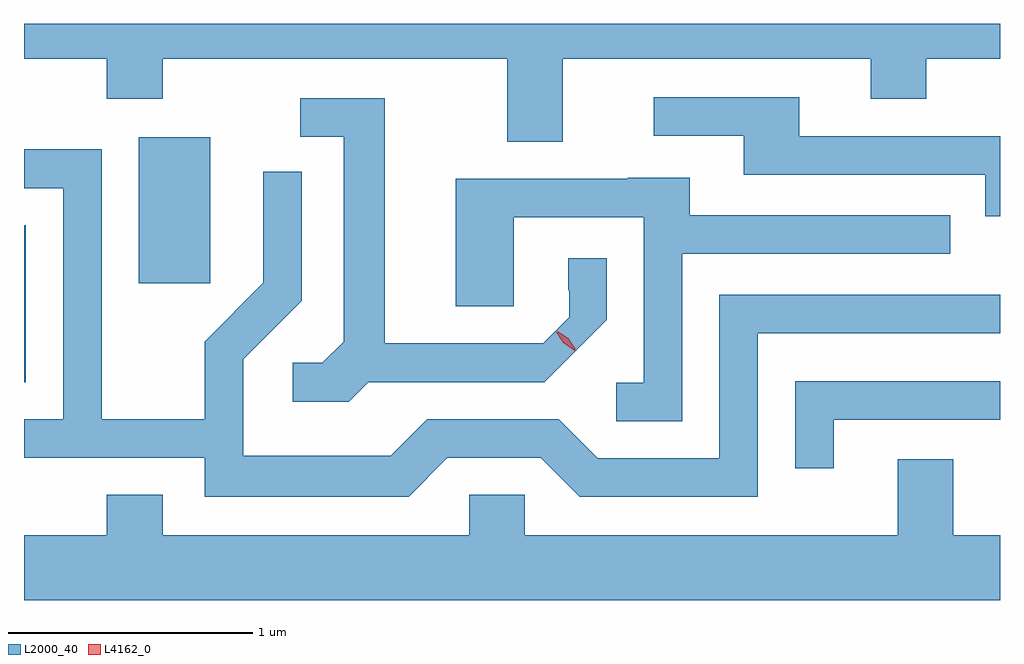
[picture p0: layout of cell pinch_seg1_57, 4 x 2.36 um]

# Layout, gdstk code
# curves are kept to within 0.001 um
import gdstk
lib = gdstk.Library(unit=1e-6, precision=1e-09)
def R(c, l, rs):  # rectangles x0, y0, x1, y1
    for r in rs: c.add(gdstk.rectangle(r[:2], r[2:], *l))
def P(c, l, *ps):  # polygons
    for p in ps: c.add(gdstk.Polygon(p, *l))
L2000_40 = (2000, 40)
L4162_0 = (4162, 0)

pinch_seg1_57 = lib.new_cell('pinch_seg1_57')
R(pinch_seg1_57, L2000_40, [(1025.801,849.411,1025.809,850.054), (1026.271,849.816,1026.564,850.414)])
P(pinch_seg1_57, L2000_40, [(1028.009,850.736),(1029.271,850.736),(1029.271,850.571),(1029.499,850.571),(1029.499,850.736),(1029.801,850.736),(1029.801,850.88),(1025.801,850.88),(1025.801,850.736),(1026.141,850.736),(1026.141,850.571),(1026.369,850.571),(1026.369,850.736),(1027.781,850.736),(1027.781,850.396),(1028.009,850.396)],
  [(1029.801,850.419),(1028.979,850.419),(1028.979,850.579),(1028.382,850.579),(1028.382,850.421),(1028.751,850.421),(1028.751,850.261),(1029.741,850.261),(1029.741,850.091),(1029.801,850.091)],
  [(1027.212,849.411),(1027.934,849.411),(1028.189,849.667),(1028.189,849.918),(1028.031,849.918),(1028.031,849.788),(1028.035,849.788),(1028.035,849.676),(1027.93,849.57),(1027.279,849.569),(1027.279,850.574),(1026.933,850.574),(1026.933,850.416),(1027.111,850.416),(1027.111,849.577),(1027.024,849.489),(1026.902,849.489),(1026.902,849.331),(1027.132,849.331)],
  [(1027.536,849.101),(1027.919,849.101),(1028.079,848.941),(1028.809,848.941),(1028.809,849.611),(1029.801,849.611),(1029.801,849.769),(1028.651,849.769),(1028.651,849.099),(1028.152,849.099),(1027.992,849.259),(1027.454,849.259),(1027.304,849.109),(1026.699,849.109),(1026.699,849.504),(1026.939,849.744),(1026.939,850.273),(1026.781,850.273),(1026.781,849.817),(1026.541,849.577),(1026.541,849.259),(1026.119,849.259),(1026.119,850.364),(1025.801,850.364),(1025.801,850.206),(1025.961,850.206),(1025.961,849.259),(1025.801,849.259),(1025.801,849.101),(1026.541,849.101),(1026.541,848.941),(1027.377,848.941)],
  [(1028.499,849.936),(1029.598,849.936),(1029.598,850.094),(1028.529,850.094),(1028.529,850.249),(1028.275,850.249),(1028.275,850.244),(1027.571,850.244),(1027.571,849.721),(1027.809,849.721),(1027.809,850.086),(1028.341,850.086),(1028.341,849.409),(1028.228,849.409),(1028.228,849.251),(1028.499,849.251)],
  [(1029.119,849.256),(1029.801,849.256),(1029.801,849.414),(1028.961,849.414),(1028.961,849.058),(1029.119,849.058)],
  [(1029.801,848.784),(1029.609,848.784),(1029.609,849.094),(1029.381,849.094),(1029.381,848.784),(1027.854,848.784),(1027.854,848.949),(1027.626,848.949),(1027.626,848.784),(1026.369,848.784),(1026.369,848.949),(1026.141,848.949),(1026.141,848.784),(1025.801,848.784),(1025.801,848.516),(1029.801,848.516)])
P(pinch_seg1_57, L4162_0, [(1028.059,849.539),(1028.012,849.572),(1027.98,849.619),(1027.98,849.619),(1027.98,849.619),(1028.027,849.586),(1028.06,849.54),(1028.06,849.539)],
  [(1028.059,849.546),(1028.016,849.576),(1027.987,849.62),(1027.987,849.62),(1027.988,849.62),(1028.031,849.59),(1028.06,849.547),(1028.06,849.546)])

lib.write_gds('pinch_seg1_57.gds')
